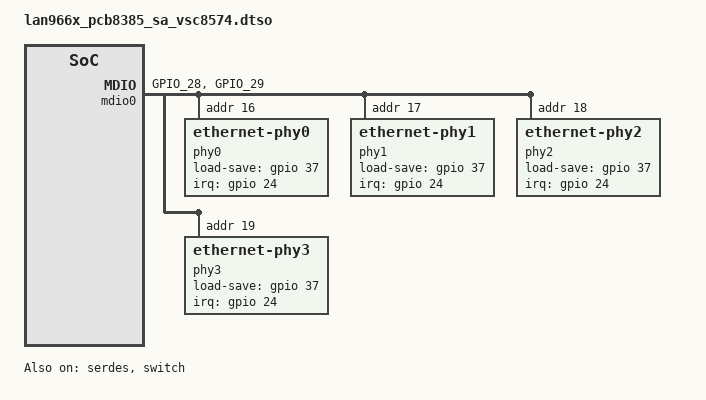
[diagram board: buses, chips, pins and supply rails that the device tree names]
// SPDX-License-Identifier: (GPL-2.0 OR MIT)
/dts-v1/;
/plugin/;

#include "phy-lan966x-serdes.h"
#include "arm-gic.h"
#include "irq.h"
#include "gpio.h"

/ {
	fragment@0 {
		target = <&mdio0>;
		__overlay__ {
			pinctrl-0 = <&miim_a_pins>;
			pinctrl-names = "default";
			status = "okay";

			phy0: ethernet-phy0 {
				reg = <0x10>;
				interrupts = <24 IRQ_TYPE_LEVEL_LOW>;
				interrupt-parent = <&gpio>;
				load-save-gpios = <&gpio 37 GPIO_ACTIVE_HIGH>;
			};
			phy1: ethernet-phy1 {
				reg = <0x11>;
				interrupts = <24 IRQ_TYPE_LEVEL_LOW>;
				interrupt-parent = <&gpio>;
				load-save-gpios = <&gpio 37 GPIO_ACTIVE_HIGH>;
			};
			phy2: ethernet-phy2 {
				reg = <0x12>;
				interrupts = <24 IRQ_TYPE_LEVEL_LOW>;
				interrupt-parent = <&gpio>;
				load-save-gpios = <&gpio 37 GPIO_ACTIVE_HIGH>;
			};
			phy3: ethernet-phy3 {
				reg = <0x13>;
				interrupts = <24 IRQ_TYPE_LEVEL_LOW>;
				interrupt-parent = <&gpio>;
				load-save-gpios = <&gpio 37 GPIO_ACTIVE_HIGH>;
			};
		};
	};

	fragment@1 {
		target = <&port0>;
		__overlay__ {
			reg = <0>;
			status = "okay";
			phy-handle = <&phy0>;
			phy-mode = "qsgmii";
			phys = <&serdes 0 SERDES6G(1)>;
		};
	};

	fragment@2 {
		target = <&port1>;
		__overlay__ {
			reg = <1>;
			status = "okay";
			phy-handle = <&phy1>;
			phy-mode = "qsgmii";
			phys = <&serdes 1 SERDES6G(1)>;
		};
	};

	fragment@3 {
		target = <&port2>;
		__overlay__ {
			reg = <2>;
			status = "okay";
			phy-handle = <&phy2>;
			phy-mode = "qsgmii";
			phys = <&serdes 2 SERDES6G(1)>;
		};
	};

	fragment@4 {
		target = <&port3>;
		__overlay__ {
			reg = <3>;
			status = "okay";
			phy-handle = <&phy3>;
			phy-mode = "qsgmii";
			phys = <&serdes 3 SERDES6G(1)>;
		};
	};

	fragment@5 {
		target = <&serdes>;
		__overlay__ {
			status = "okay";
		//	microchip,s1-tx-inverted;
		};
	};

	fragment@6 {
		target = <&gpio>;
		__overlay__ {
			miim_a_pins: mdio-pins {
				/* MDC, MDIO */
				pins =  "GPIO_28", "GPIO_29";
				function = "miim_a";
			};
		};
	};

	fragment@7 {
		target = <&switch>;
		__overlay__ {
			status = "okay";
		};
	};
};
